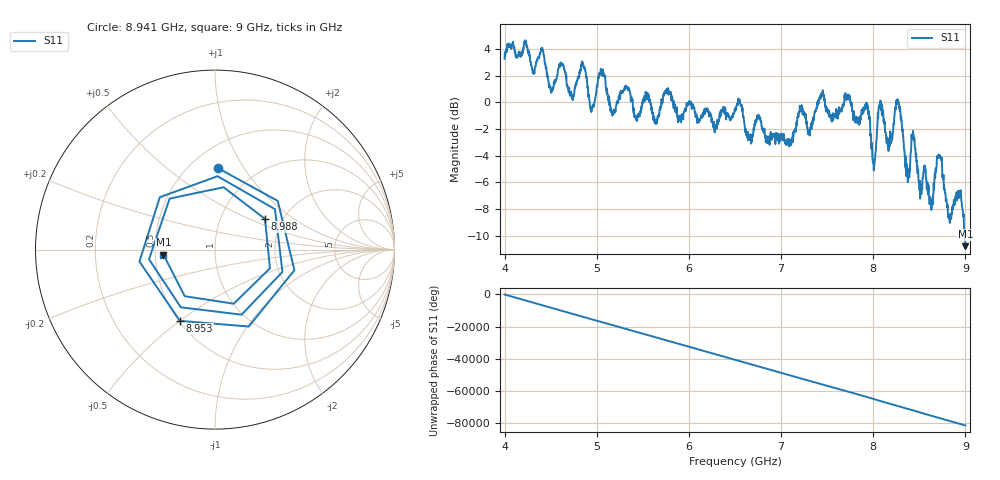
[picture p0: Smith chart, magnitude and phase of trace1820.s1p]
! Created with skrf 1.8.0 (http://scikit-rf.org).
# Hz S RI R 50.0
!freq ReS11 ImS11
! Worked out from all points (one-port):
!   1601 points, 4 GHz to 9 GHz, reference 50 ohm
!   lowest |S11| = -10.8 dB at 9 GHz (marker M1), VSWR 1.81, Z = 27.6 - j1.68 ohm
!   |S11| at or under -10 dB: 8.994876 GHz to end of sweep
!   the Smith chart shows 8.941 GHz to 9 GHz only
!   S11 on the Smith chart (normalised r, x): 8.941 GHz: 0.67, +0.77; 8.953 GHz: 0.51, -0.50; 8.988 GHz: 1.62, +0.62; 9 GHz: 0.55, -0.03
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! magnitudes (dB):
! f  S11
! 4 GHz  3.3
! 4.406 GHz  4.1
! 4.506 GHz  0.7
! 4.625 GHz  2.9
! 4.731 GHz  0.4
! 4.856 GHz  2.7
! 4.947 GHz  -0.6
! 5.05 GHz  2.2
! 5.172 GHz  -0.8
! 5.25 GHz  0.7
! 5.875 GHz  -0.9
! 6.5 GHz  -0.6
! 7.125 GHz  -3.0
! 7.75 GHz  0.1
! 7.938 GHz  -0.3
! 8.006 GHz  -5.1
! 8.072 GHz  -0.1
! 8.172 GHz  -3.1
! 8.269 GHz  0.2
! 8.375 GHz  -6.0
! 8.434 GHz  -2.3
! 8.628 GHz  -7.9
! 8.716 GHz  -4.2
! 8.828 GHz  -8.8
! 8.941 GHz  -6.8
! 8.953 GHz  -7.1
! 8.988 GHz  -9.7
! 9 GHz  -10.8
